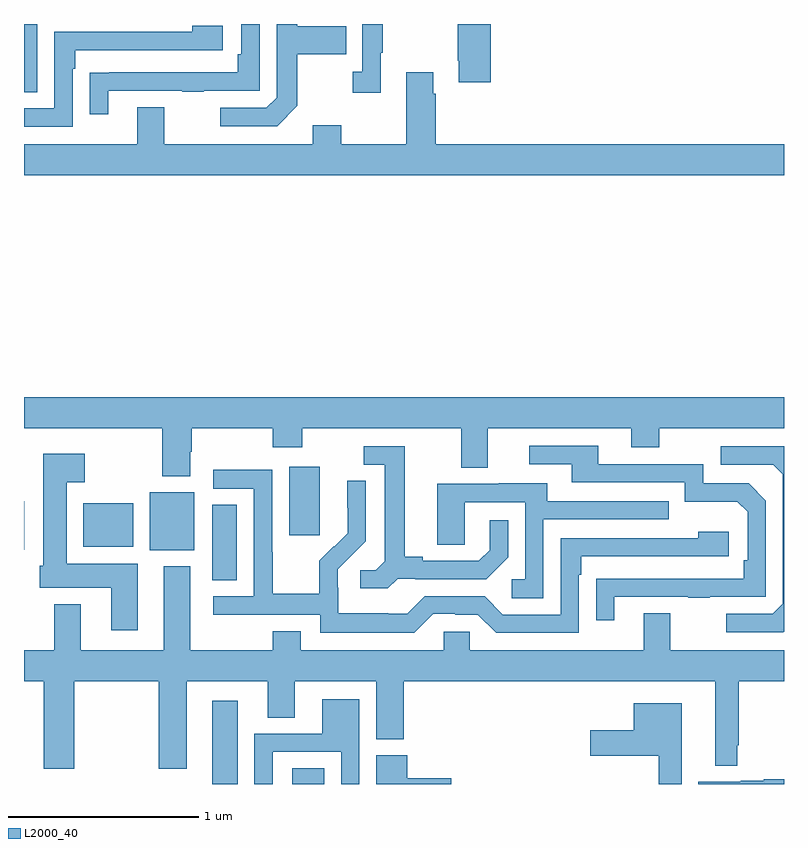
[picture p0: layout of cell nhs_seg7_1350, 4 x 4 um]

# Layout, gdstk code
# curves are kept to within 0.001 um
import gdstk
lib = gdstk.Library(unit=1e-6, precision=1e-09)
def R(c, l, rs):  # rectangles x0, y0, x1, y1
    for r in rs: c.add(gdstk.rectangle(r[:2], r[2:], *l))
def P(c, l, *ps):  # polygons
    for p in ps: c.add(gdstk.Polygon(p, *l))
L2000_40 = (2000, 40)

nhs_seg7_1350 = lib.new_cell('nhs_seg7_1350')
R(nhs_seg7_1350, L2000_40, [(203.99,1076,204.124,1076.437), (204.413,1076,204.58,1076.084), (203.99,1077.073,204.121,1077.47), (203.663,1077.23,203.896,1077.535), (203,1077.233,203.002,1077.487), (203.312,1077.248,203.575,1077.478), (204.395,1077.309,204.556,1077.67), (203,1079.641,203.07,1080)])
P(nhs_seg7_1350, L2000_40, [(203.443,1079.649),(203.833,1079.649),(203.833,1079.644),(203.945,1079.644),(203.945,1079.649),(204.24,1079.649),(204.24,1080),(204.144,1080),(204.144,1079.842),(204.124,1079.842),(204.124,1079.745),(203.449,1079.745),(203.449,1079.744),(203.347,1079.744),(203.347,1079.526),(203.443,1079.526)],
  [(204.877,1079.849),(204.889,1079.849),(204.889,1080),(204.78,1080),(204.78,1079.75),(204.729,1079.75),(204.729,1079.637),(204.877,1079.637)],
  [(204.439,1079.569),(204.439,1079.842),(204.695,1079.842),(204.695,1079.989),(204.439,1079.989),(204.439,1080),(204.33,1080),(204.33,1079.613),(204.276,1079.559),(204.033,1079.559),(204.033,1079.463),(204.333,1079.463)],
  [(205.457,1080),(205.282,1080),(205.282,1079.806),(205.289,1079.806),(205.289,1079.694),(205.457,1079.694)],
  [(203.256,1079.765),(203.269,1079.765),(203.269,1079.862),(204.046,1079.862),(204.046,1079.992),(203.885,1079.992),(203.885,1079.958),(203.16,1079.958),(203.16,1079.556),(203,1079.556),(203,1079.46),(203.256,1079.46)],
  [(207,1079.368),(205.166,1079.368),(205.166,1079.633),(205.153,1079.633),(205.153,1079.746),(205.013,1079.746),(205.013,1079.368),(204.669,1079.368),(204.669,1079.467),(204.521,1079.467),(204.521,1079.368),(203.737,1079.368),(203.737,1079.563),(203.597,1079.563),(203.597,1079.368),(203,1079.368),(203,1079.204),(207,1079.204)],
  [(203.875,1077.748),(203.883,1077.748),(203.883,1077.872),(204.31,1077.872),(204.31,1077.773),(204.465,1077.773),(204.465,1077.872),(205.301,1077.872),(205.301,1077.664),(205.441,1077.664),(205.441,1077.872),(206.195,1077.872),(206.195,1077.773),(206.343,1077.773),(206.343,1077.872),(207,1077.872),(207,1078.036),(203,1078.036),(203,1077.872),(203.728,1077.872),(203.728,1077.62),(203.875,1077.62)],
  [(206.107,1076.985),(206.497,1076.985),(206.497,1076.98),(206.609,1076.98),(206.609,1076.985),(206.904,1076.985),(206.904,1077.492),(206.814,1077.582),(206.574,1077.582),(206.574,1077.684),(206.023,1077.684),(206.023,1077.78),(205.659,1077.78),(205.659,1077.684),(205.883,1077.684),(205.883,1077.588),(206.478,1077.588),(206.478,1077.485),(206.755,1077.485),(206.808,1077.432),(206.808,1077.178),(206.788,1077.178),(206.788,1077.081),(206.011,1077.08),(206.011,1076.862),(206.107,1076.862)],
  [(207,1076.802),(207,1077.777),(206.667,1077.777),(206.667,1077.681),(206.943,1077.681),(206.994,1077.63),(206.994,1076.949),(206.94,1076.895),(206.697,1076.895),(206.697,1076.799),(206.997,1076.799)],
  [(204.966,1077.081),(205.06,1077.081),(205.06,1077.078),(205.432,1077.078),(205.548,1077.194),(205.548,1077.388),(205.451,1077.388),(205.451,1077.231),(205.394,1077.174),(205.099,1077.174),(205.099,1077.197),(205.003,1077.197),(205.003,1077.777),(204.789,1077.777),(204.789,1077.681),(204.899,1077.681),(204.899,1077.173),(204.852,1077.126),(204.771,1077.126),(204.771,1077.029),(204.914,1077.029)],
  [(203.599,1077.16),(203.224,1077.16),(203.224,1077.587),(203.32,1077.587),(203.32,1077.739),(203.102,1077.739),(203.102,1077.15),(203.084,1077.15),(203.084,1077.032),(203.459,1077.032),(203.459,1076.808),(203.599,1076.808)],
  [(205.155,1076.895),(205.271,1076.895),(205.271,1076.892),(205.389,1076.892),(205.485,1076.796),(205.92,1076.796),(205.92,1077.101),(205.933,1077.101),(205.933,1077.198),(206.71,1077.198),(206.71,1077.328),(206.549,1077.328),(206.549,1077.294),(205.824,1077.294),(205.824,1076.892),(205.521,1076.892),(205.425,1076.988),(205.11,1076.988),(205.017,1076.895),(204.917,1076.895),(204.917,1076.899),(204.654,1076.899),(204.654,1077.033),(204.652,1077.033),(204.652,1077.13),(204.798,1077.278),(204.798,1077.596),(204.701,1077.596),(204.701,1077.455),(204.704,1077.455),(204.704,1077.32),(204.633,1077.249),(204.63,1077.252),(204.553,1077.175),(204.553,1077.001),(204.309,1077.001),(204.309,1077.221),(204.306,1077.221),(204.306,1077.654),(203.997,1077.654),(203.997,1077.555),(204.21,1077.555),(204.21,1076.988),(203.997,1076.988),(203.997,1076.892),(204.558,1076.892),(204.558,1076.795),(205.055,1076.795)],
  [(205.734,1077.393),(206.393,1077.393),(206.393,1077.489),(205.753,1077.489),(205.753,1077.583),(205.499,1077.583),(205.499,1077.579),(205.175,1077.579),(205.175,1077.259),(205.32,1077.259),(205.32,1077.483),(205.638,1077.483),(205.638,1077.078),(205.566,1077.078),(205.566,1076.977),(205.734,1076.977)],
  [(203.265,1076.54),(203.71,1076.54),(203.71,1076.079),(203.857,1076.079),(203.857,1076.54),(204.284,1076.54),(204.284,1076.35),(204.424,1076.35),(204.424,1076.54),(204.854,1076.54),(204.854,1076.236),(204.998,1076.236),(204.998,1076.54),(206.639,1076.54),(206.639,1076.096),(206.753,1076.096),(206.753,1076.203),(206.761,1076.203),(206.761,1076.54),(207,1076.54),(207,1076.704),(206.401,1076.704),(206.401,1076.899),(206.261,1076.899),(206.261,1076.704),(205.347,1076.704),(205.347,1076.802),(205.209,1076.802),(205.209,1076.704),(204.457,1076.704),(204.457,1076.803),(204.31,1076.803),(204.31,1076.704),(203.875,1076.704),(203.875,1077.145),(203.735,1077.145),(203.735,1076.704),(203.299,1076.704),(203.299,1076.947),(203.159,1076.947),(203.159,1076.704),(203,1076.704),(203,1076.54),(203.105,1076.54),(203.105,1076.079),(203.265,1076.079)],
  [(204.309,1076.169),(204.669,1076.169),(204.669,1076),(204.765,1076),(204.765,1076.446),(204.569,1076.446),(204.569,1076.265),(204.213,1076.265),(204.213,1076),(204.309,1076)],
  [(206.461,1076.425),(206.21,1076.425),(206.21,1076.284),(205.98,1076.284),(205.98,1076.15),(206.34,1076.15),(206.34,1076),(206.461,1076)],
  [(205.249,1076.03),(205.016,1076.03),(205.016,1076.151),(204.854,1076.151),(204.854,1076),(205.249,1076)],
  [(207,1076.024),(206.894,1076.024),(206.894,1076.017),(206.772,1076.017),(206.772,1076.011),(206.549,1076.011),(206.549,1076),(207,1076)])

lib.write_gds('nhs_seg7_1350.gds')
